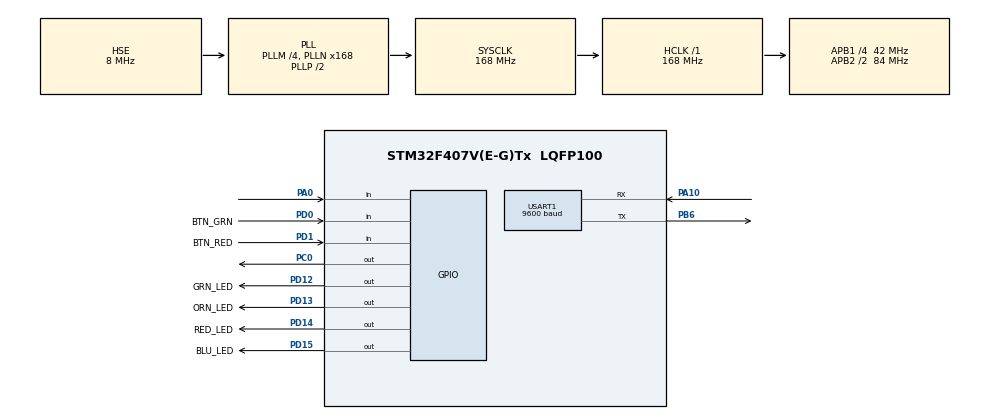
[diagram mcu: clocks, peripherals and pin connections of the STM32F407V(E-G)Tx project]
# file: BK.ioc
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Mcu.Family=STM32F4
Mcu.Name=STM32F407V(E-G)Tx
Mcu.Package=LQFP100
NVIC.PriorityGroup=NVIC_PRIORITYGROUP_0
NVIC.TIM2_IRQn=true\:0\:0\:false\:false\:true\:true\:true
NVIC.USART1_IRQn=true\:0\:0\:false\:false\:true\:true\:true
PA0-WKUP.Signal=GPIO_Input
PA10.Mode=Asynchronous
PA10.Signal=USART1_RX
PB6.Mode=Asynchronous
PB6.Signal=USART1_TX
PC0.Signal=GPIO_Output
PD0.GPIO_Label=BTN_GRN
PD0.GPIO_PuPd=GPIO_PULLUP
PD0.Signal=GPIO_Input
PD1.GPIO_Label=BTN_RED
PD1.GPIO_PuPd=GPIO_PULLUP
PD1.Signal=GPIO_Input
PD12.GPIO_Label=GRN_LED
PD12.Signal=GPIO_Output
PD13.GPIO_Label=ORN_LED
PD13.Signal=GPIO_Output
PD14.GPIO_Label=RED_LED
PD14.Signal=GPIO_Output
PD15.GPIO_Label=BLU_LED
PD15.Signal=GPIO_Output
PH0-OSC_IN.Mode=HSE-External-Oscillator
PH0-OSC_IN.Signal=RCC_OSC_IN
PH1-OSC_OUT.Mode=HSE-External-Oscillator
PH1-OSC_OUT.Signal=RCC_OSC_OUT
ProjectManager.HeapSize=0x200
ProjectManager.StackSize=0x400
ProjectManager.TargetToolchain=STM32CubeIDE
RCC.48MHZClocksFreq_Value=48000000
RCC.AHBFreq_Value=168000000
RCC.APB1CLKDivider=RCC_HCLK_DIV4
RCC.APB1Freq_Value=42000000
RCC.APB1TimFreq_Value=84000000
RCC.APB2CLKDivider=RCC_HCLK_DIV2
RCC.APB2Freq_Value=84000000
RCC.APB2TimFreq_Value=168000000
RCC.CortexFreq_Value=168000000
RCC.HCLKFreq_Value=168000000
RCC.HSE_VALUE=8000000
RCC.HSI_VALUE=16000000
RCC.LSE_VALUE=32768
RCC.PLLM=4
RCC.PLLN=168
RCC.PLLQ=7
RCC.PLLSourceVirtual=RCC_PLLSOURCE_HSE
RCC.SYSCLKFreq_VALUE=168000000
RCC.SYSCLKSource=RCC_SYSCLKSOURCE_PLLCLK
RCC.VCOOutputFreq_Value=336000000
TIM2.Period=1
TIM2.Prescaler=42000
USART1.BaudRate=9600
USART1.VirtualMode=VM_ASYNC
VP_TIM2_VS_ClockSourceINT.Mode=Internal
board=STM32F407G-DISC1

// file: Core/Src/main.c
/* USER CODE BEGIN Header */
/**
  ******************************************************************************
  * @file           : main.c
  * @brief          : Main program body
  ******************************************************************************
  * @attention
  *
  * <h2><center>&copy; Copyright (c) 2020 STMicroelectronics.
  * All rights reserved.</center></h2>
  *
  * This software component is licensed by ST under Ultimate Liberty license
  * SLA0044, the "License"; You may not use this file except in compliance with
  * the License. You may obtain a copy of the License at:
  *                             www.st.com/SLA0044
  *
  ******************************************************************************
  */
/* USER CODE END Header */
#include "main.h"

TIM_HandleTypeDef htim2;

UART_HandleTypeDef huart1;

/* USER CODE BEGIN PV */
// ------------ Utility Timer Variables
uint16_t B1dbTimer;
uint8_t B1Pressed_F;
uint8_t B1ActionTaken_F;
uint16_t B1HoldTime;

uint16_t BGrnDbTimer;
uint8_t BGrnPressed_F;
uint8_t BGrnActionTaken_F;
uint16_t BGrnHoldTime;

uint16_t BRedDbTimer;
uint8_t BRedPressed_F;
uint8_t BRedActionTaken_F;
uint16_t BRedHoldTime;

// msec Timing: Make utility timers 16-bit
uint16_t TestTimer;

// sec Timing
uint16_t SecsCounter;

// LED Direction
uint8_t LedDirection = CLOCKWISE;
uint8_t LedStates[] = { LED_RED, LED_BLU, LED_GRN, LED_ORN };
uint8_t LedCount = 4;
uint8_t LedStatesIndex = 0;

/* USER CODE END PV */

void SystemClock_Config(void);
static void MX_GPIO_Init(void);
static void MX_TIM2_Init(void);
static void MX_USART1_UART_Init(void);
/* USER CODE BEGIN PFP */
void CheckSWs(void);
void UpdateLEDState(void);
void handleBtn1Pressed(void);
void handleBtnGrnPressed(void);
void handleBtnRedPressed(void);
/* USER CODE END PFP */

int main(void)
{

  /* MCU Configuration--------------------------------------------------------*/

  /* Reset of all peripherals, Initializes the Flash interface and the Systick. */
  HAL_Init();

  /* Configure the system clock */
  SystemClock_Config();

  /* Initialize all configured peripherals */
  MX_GPIO_Init();
  MX_TIM2_Init();
  MX_USART1_UART_Init();
  /* USER CODE BEGIN 2 */
  HAL_TIM_Base_Start_IT(&htim2);

  /* USER CODE END 2 */

  /* Infinite loop */
  while (1)
  {

    /* USER CODE BEGIN 3 */

  		if (!TestTimer) {
  			TestTimer = 500;
  			HAL_UART_Transmit(&huart1, (uint8_t*) "Enter A or B\r\n", 14, 100);
  		}

  		CheckSWs();
  		UpdateLEDState();

  }
  /* USER CODE END 3 */
}

void SystemClock_Config(void)
{
  RCC_OscInitTypeDef RCC_OscInitStruct = {0};
  RCC_ClkInitTypeDef RCC_ClkInitStruct = {0};

  /** Configure the main internal regulator output voltage
  */
  __HAL_RCC_PWR_CLK_ENABLE();
  __HAL_PWR_VOLTAGESCALING_CONFIG(PWR_REGULATOR_VOLTAGE_SCALE1);
  /** Initializes the RCC Oscillators according to the specified parameters
  * in the RCC_OscInitTypeDef structure.
  */
  RCC_OscInitStruct.OscillatorType = RCC_OSCILLATORTYPE_HSE;
  RCC_OscInitStruct.HSEState = RCC_HSE_ON;
  RCC_OscInitStruct.PLL.PLLState = RCC_PLL_ON;
  RCC_OscInitStruct.PLL.PLLSource = RCC_PLLSOURCE_HSE;
  RCC_OscInitStruct.PLL.PLLM = 4;
  RCC_OscInitStruct.PLL.PLLN = 168;
  RCC_OscInitStruct.PLL.PLLP = RCC_PLLP_DIV2;
  RCC_OscInitStruct.PLL.PLLQ = 7;
  if (HAL_RCC_OscConfig(&RCC_OscInitStruct) != HAL_OK)
  {
    Error_Handler();
  }
  /** Initializes the CPU, AHB and APB buses clocks
  */
  RCC_ClkInitStruct.ClockType = RCC_CLOCKTYPE_HCLK|RCC_CLOCKTYPE_SYSCLK
                              |RCC_CLOCKTYPE_PCLK1|RCC_CLOCKTYPE_PCLK2;
  RCC_ClkInitStruct.SYSCLKSource = RCC_SYSCLKSOURCE_PLLCLK;
  RCC_ClkInitStruct.AHBCLKDivider = RCC_SYSCLK_DIV1;
  RCC_ClkInitStruct.APB1CLKDivider = RCC_HCLK_DIV4;
  RCC_ClkInitStruct.APB2CLKDivider = RCC_HCLK_DIV2;

  if (HAL_RCC_ClockConfig(&RCC_ClkInitStruct, FLASH_LATENCY_5) != HAL_OK)
  {
    Error_Handler();
  }
}

static void MX_TIM2_Init(void)
{

  TIM_ClockConfigTypeDef sClockSourceConfig = {0};
  TIM_MasterConfigTypeDef sMasterConfig = {0};

  htim2.Instance = TIM2;
  htim2.Init.Prescaler = 42000;
  htim2.Init.CounterMode = TIM_COUNTERMODE_UP;
  htim2.Init.Period = 1;
  htim2.Init.ClockDivision = TIM_CLOCKDIVISION_DIV1;
  htim2.Init.AutoReloadPreload = TIM_AUTORELOAD_PRELOAD_DISABLE;
  if (HAL_TIM_Base_Init(&htim2) != HAL_OK)
  {
    Error_Handler();
  }
  sClockSourceConfig.ClockSource = TIM_CLOCKSOURCE_INTERNAL;
  if (HAL_TIM_ConfigClockSource(&htim2, &sClockSourceConfig) != HAL_OK)
  {
    Error_Handler();
  }
  sMasterConfig.MasterOutputTrigger = TIM_TRGO_RESET;
  sMasterConfig.MasterSlaveMode = TIM_MASTERSLAVEMODE_DISABLE;
  if (HAL_TIMEx_MasterConfigSynchronization(&htim2, &sMasterConfig) != HAL_OK)
  {
    Error_Handler();
  }

}

static void MX_USART1_UART_Init(void)
{

  huart1.Instance = USART1;
  huart1.Init.BaudRate = 9600;
  huart1.Init.WordLength = UART_WORDLENGTH_8B;
  huart1.Init.StopBits = UART_STOPBITS_1;
  huart1.Init.Parity = UART_PARITY_NONE;
  huart1.Init.Mode = UART_MODE_TX_RX;
  huart1.Init.HwFlowCtl = UART_HWCONTROL_NONE;
  huart1.Init.OverSampling = UART_OVERSAMPLING_16;
  if (HAL_UART_Init(&huart1) != HAL_OK)
  {
    Error_Handler();
  }

}

static void MX_GPIO_Init(void)
{
  GPIO_InitTypeDef GPIO_InitStruct = {0};

  /* GPIO Ports Clock Enable */
  __HAL_RCC_GPIOH_CLK_ENABLE();
  __HAL_RCC_GPIOC_CLK_ENABLE();
  __HAL_RCC_GPIOA_CLK_ENABLE();
  __HAL_RCC_GPIOD_CLK_ENABLE();
  __HAL_RCC_GPIOB_CLK_ENABLE();

  /*Configure GPIO pin Output Level */
  HAL_GPIO_WritePin(GPIOC, GPIO_PIN_0, GPIO_PIN_RESET);

  /*Configure GPIO pin Output Level */
  HAL_GPIO_WritePin(GPIOD, GRN_LED_Pin|ORN_LED_Pin|RED_LED_Pin|BLU_LED_Pin, GPIO_PIN_RESET);

  /*Configure GPIO pin : PC0 */
  GPIO_InitStruct.Pin = GPIO_PIN_0;
  GPIO_InitStruct.Mode = GPIO_MODE_OUTPUT_PP;
  GPIO_InitStruct.Pull = GPIO_NOPULL;
  GPIO_InitStruct.Speed = GPIO_SPEED_FREQ_LOW;
  HAL_GPIO_Init(GPIOC, &GPIO_InitStruct);

  /*Configure GPIO pin : PA0 */
  GPIO_InitStruct.Pin = GPIO_PIN_0;
  GPIO_InitStruct.Mode = GPIO_MODE_INPUT;
  GPIO_InitStruct.Pull = GPIO_NOPULL;
  HAL_GPIO_Init(GPIOA, &GPIO_InitStruct);

  /*Configure GPIO pins : GRN_LED_Pin ORN_LED_Pin RED_LED_Pin BLU_LED_Pin */
  GPIO_InitStruct.Pin = GRN_LED_Pin|ORN_LED_Pin|RED_LED_Pin|BLU_LED_Pin;
  GPIO_InitStruct.Mode = GPIO_MODE_OUTPUT_PP;
  GPIO_InitStruct.Pull = GPIO_NOPULL;
  GPIO_InitStruct.Speed = GPIO_SPEED_FREQ_LOW;
  HAL_GPIO_Init(GPIOD, &GPIO_InitStruct);

  /*Configure GPIO pins : BTN_GRN_Pin BTN_RED_Pin */
  GPIO_InitStruct.Pin = BTN_GRN_Pin|BTN_RED_Pin;
  GPIO_InitStruct.Mode = GPIO_MODE_INPUT;
  GPIO_InitStruct.Pull = GPIO_PULLUP;
  HAL_GPIO_Init(GPIOD, &GPIO_InitStruct);

}

/* USER CODE BEGIN 4 */
// Use TIM2 as 1ms utility timer...
void HAL_TIM_PeriodElapsedCallback(TIM_HandleTypeDef *htim)
{
	// --------------------------------------------
	// Millisecond timers:
	// --------------------------------------------

	// These timers can be disabled... Set the timer to TIMER_DISABLE (Defined as 0xFFFFFF) and then
	if (TestTimer)
		TestTimer--;

	++SecsCounter;
	if ( SecsCounter == 1000)
	{
		SecsCounter = 0;

		// Handle any 1 sec events or counters...
//		BLU_LED_TOGGLE();
	}

	if ( B1 != BUTTON_PRESSED)
	{
		B1dbTimer = 0;
		B1Pressed_F = FALSE;
	}
	else
	{
		if (B1dbTimer < 255)
			++B1dbTimer;
		if ( B1dbTimer > DB_TIME )
			B1Pressed_F = TRUE;

	}

	if ( B_GRN != B_GRN_PRESSED)
	{
		BGrnDbTimer = 0;
		BGrnPressed_F = FALSE;
	}
	else
	{
		if (BGrnDbTimer < 255)
			++BGrnDbTimer;
		if ( BGrnDbTimer > DB_TIME )
			BGrnPressed_F = TRUE;
	}

	if ( B_RED != B_RED_PRESSED)
	{
		BRedDbTimer = 0;
		BRedPressed_F = FALSE;
	}
	else
	{
		if (BRedDbTimer < 255)
			++BRedDbTimer;
		if ( BRedDbTimer > DB_TIME )
			BRedPressed_F = TRUE;
	}

	if (LED_Timer)
	{
		LED_Timer--;
	}
}

void CheckSWs(void)
{
	if (B1Pressed_F && !B1ActionTaken_F)
	{
		handleBtn1Pressed();
		B1ActionTaken_F = TRUE;
	}
	else if ( !B1Pressed_F && (B1ActionTaken_F))
	{
		B1ActionTaken_F = FALSE;
	}

	if (BGrnPressed_F && !BGrnActionTaken_F)
	{
		handleBtnGrnPressed();
		BGrnActionTaken_F = TRUE;
	}
	else if ( !BGrnPressed_F && (BGrnActionTaken_F))
	{
		BGrnActionTaken_F = FALSE;
	}

	if (BRedPressed_F && !BRedActionTaken_F)
	{
		handleBtnRedPressed();
		BRedActionTaken_F = TRUE;
	}
	else if ( !BRedPressed_F && (BRedActionTaken_F))
	{

		BRedActionTaken_F = FALSE;
	}
}

void handleBtnRedPressed(void)
{
	if (LedDirection == CLOCKWISE)
	{
		LedDirection = COUNTERCLOCKWISE;
	}
	else
	{
		LedDirection = CLOCKWISE;
	}
}

void handleBtnGrnPressed(void)
{
	if (LED_State == LED_IDLE)
	{
		LED_Start = TRUE;
		LED_Timer = LED_WAIT_TIME_MS;
	}
	else
	{
		GRN_LED_OFF();
		ORN_LED_OFF();
		RED_LED_OFF();
		BLU_LED_OFF();

		LED_Start = FALSE;
		LED_State = LED_IDLE;
	}

}

void handleBtn1Pressed(void)
{
	LED_Start = TRUE;
	LED_Timer = LED_WAIT_TIME_MS;
}

void UpdateLEDState(void)
{
	// Place "always" code here then check each state
	if (LED_State == LED_IDLE)
	{
		if (LED_Start)
		{
			LED_Start = FALSE;
			RED_LED_ON();
			LED_State = LED_RED;
			LED_Timer = LED_WAIT_TIME_MS;
		}
	}
	else if (!LED_Timer)
	{
		if (LedDirection == CLOCKWISE)
		{
			LedStatesIndex++;

			// IF it's at the end of the array, start over
			if (LedStatesIndex >= LedCount)
			{
				LedStatesIndex = 0;
			}
		}
		// ELSE LedDirection == COUNTERCLOCKWISE
		else
		{
			if (LedStatesIndex == 0)
			{
				LedStatesIndex = LedCount - 1;
			}
			else
			{
				LedStatesIndex--;
			}
		}
		SwitchLED(LED_State, LedStates[LedStatesIndex]);
		LED_Timer = LED_WAIT_TIME_MS;
	}

}

void SwitchLED(uint8_t oldState, uint8_t newState)
{
	switch (oldState) {
	case LED_RED:
		RED_LED_OFF();
		break;
	case LED_BLU:
		BLU_LED_OFF();
		break;
	case LED_GRN:
		GRN_LED_OFF();
		break;
	case LED_ORN:
		ORN_LED_OFF();
		break;
	}

	switch (newState) {
	case LED_RED:
		RED_LED_ON();
		break;
	case LED_BLU:
		BLU_LED_ON();
		break;
	case LED_GRN:
		GRN_LED_ON();
		break;
	case LED_ORN:
		ORN_LED_ON();
		break;
	}
	LED_State = newState;
}

/* USER CODE END 4 */

void Error_Handler(void)
{
}

/************************ (C) COPYRIGHT STMicroelectronics *****END OF FILE****/
